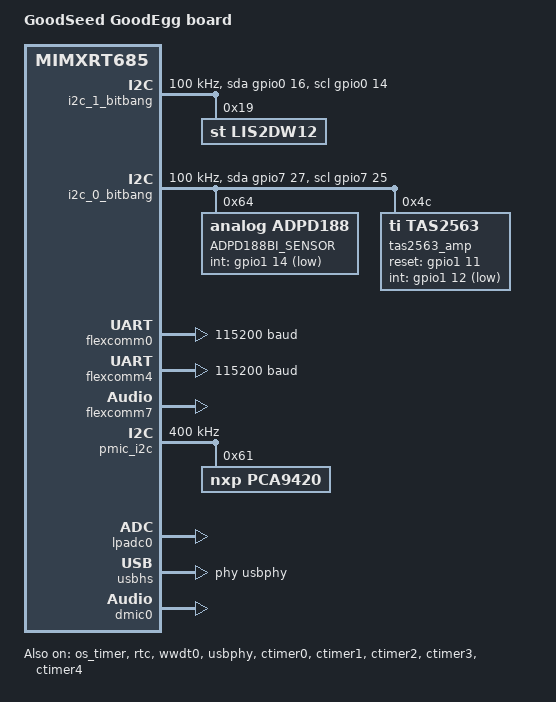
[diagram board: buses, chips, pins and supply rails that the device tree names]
/*
 * Copyright 2020-2024 NXP
 *
 * SPDX-License-Identifier: Apache-2.0
 */

/dts-v1/;

#include <nxp/nxp_rt6xx.dtsi>
#include <zephyr/dt-bindings/pwm/pwm.h>
#include <zephyr/dt-bindings/gpio/arduino-header-r3.h>
#include <zephyr/dt-bindings/input/input-event-codes.h>

#include "mimxrt685_evk-pinctrl.dtsi"

/ {
	model = "GoodSeed GoodEgg board";
	compatible = "nxp,mimxrt685";

	aliases {
		/* sw0 = &user_button_1; */
		/* sw1 = &user_button_2; */
		/* led0 = &green_led; */
		/* led1 = &blue_led; */
		/* led2 = &red_led; */
		usart-0 = &flexcomm4;
		//uart0=&flexcomm7;
		/* For pwm test suites */
		/* pwm-0 = &sc_timer; */
		/* pwm-led0 = &green_pwm_led; */
		/* green-pwm-led = &green_pwm_led; */
		/* blue-pwm-led = &blue_pwm_led; */
		/* red-pwm-led = &red_pwm_led; */
		watchdog0 = &wwdt0;
		/* magn0 = &fxos8700; */
		accel0 = &lis2dw12; 
		sdhc0 = &usdhc0;
		dmic-dev = &dmic0;
		//mcuboot-button0 = &user_button_1;
		mbox = &mbox;
		//led0 = &led0;
		adc0 = &lpadc0; 
		adpd0 = &adpd188bi;

		//bme6xx = &bme680;
		//die-temp0 = &adc_temp;
	};

	chosen {
		/* zephyr,flash-controller = &mx25um51345g; */
		zephyr,flash = &sram_code;/*&mx25um51345g; */
		zephyr,code-partition = &sram_code;
		zephyr,uart-mcumgr = &flexcomm4;
		zephyr,sram = &sram0;
		zephyr,console = &flexcomm4;
		zephyr,shell-uart = &flexcomm4;
	};

	/* leds { */
	/* 	compatible = "gpio-leds"; */
	/* 	led0: led_0 { */
	/* 		gpios = <&gpio0 14 GPIO_ACTIVE_HIGH>; */
	/* 		label = "Red LED 0"; */
	/* 	}; */
	/* }; */
	//Bitbang i2c sensor interface
	i2c_1_bitbang: i2c-gpio-1 {

		compatible = "gpio-i2c";
		label = "I2C_0_BITBANG";
		scl-gpios = <&gpio0 14 GPIO_OPEN_DRAIN >; //<&gpio7 25 GPIO_OPEN_DRAIN >; // | GPIO_PULL_UP)>; 
		sda-gpios = <&gpio0 16 GPIO_OPEN_DRAIN >; //<&gpio7 27 GPIO_OPEN_DRAIN >;
		clock-frequency = <I2C_BITRATE_STANDARD>;
		#address-cells = <1>;
		#size-cells = <0>;
		status = "okay";

		/* bme680:bme680@76 { */
		/* 	compatible = "bosch,bme680"; */
		/* 	reg = <0x76>; */
		/* 	status = "okay"; */
		/* }; */

		lis2dw12: lis2dw12@19 {
			compatible = "st,lis2dw12";
			status = "okay";
			reg = <0x19>;
			/* int1-gpios = <&gpio1 5 GPIO_ACTIVE_LOW>; */
			/* reset-gpios = <&gpio1 7 GPIO_ACTIVE_HIGH>; */
		};


	};
	i2c_0_bitbang: i2c-gpio-0 {

		compatible = "gpio-i2c";
		label = "I2C_0_BITBANG";
		scl-gpios = <&gpio7 25 GPIO_OPEN_DRAIN >; //<&gpio7 25 GPIO_OPEN_DRAIN >; // | GPIO_PULL_UP)>; 
		sda-gpios = <&gpio7 27 GPIO_OPEN_DRAIN >; //<&gpio7 27 GPIO_OPEN_DRAIN >;
		clock-frequency = <I2C_BITRATE_STANDARD>;
		#address-cells = <1>;
		#size-cells = <0>;
		status = "okay";

		/* bme680:bme680@76 { */
		/* 	compatible = "bosch,bme680"; */
		/* 	reg = <0x76>; */
		/* 	status = "okay"; */
		/* }; */

		adpd188bi: analog_adpd188@64 {
			compatible = "analog,adpd188";
			status = "okay";
			reg = <0x64>; 
			label = "ADPD188BI_SENSOR";
			int-gpios = <&gpio1 14 GPIO_ACTIVE_LOW>;
		};

		tas2563_amp: tas2563@4c {

			compatible = "ti,tas2563"; // Standard compatibility string for driver matching

			reg = <0x4c>;              // The 7-bit I2C address of the TAS2563

			// The driver will use this property to configure the I2S peripheral.
			audio-interface = <&i2s0>; 

			// a) RESET Pin (required for initial startup and soft resets)
			reset-gpios = <&gpio1 11 GPIO_ACTIVE_HIGH>; 

			// b) INTERRUPT Pin (for real-time events like short-circuit or thermal warning)
			int-gpios = <&gpio1 12 (GPIO_PULL_UP | GPIO_ACTIVE_LOW)>;

			status = "okay";
		};

	};


	/* gpio_keys { */
	/* 	compatible = "gpio-keys"; */
	/**/
	/* 	user_button_1: button_0 { */
	/* 		label = "User SW1"; */
	/* 		gpios = <&gpio1 1 GPIO_ACTIVE_LOW>; */
	/* 		zephyr,code = <INPUT_KEY_0>; */
	/* 	}; */
	/**/
	/* 	user_button_2: button_1 { */
	/* 		label = "User SW2"; */
	/* 		gpios = <&gpio0 10 GPIO_ACTIVE_LOW>; */
	/* 		zephyr,code = <INPUT_KEY_1>; */
	/* 	}; */
	/* }; */
	/**/
	/* leds: leds { */
	/* 	compatible = "gpio-leds"; */
	/**/
	/* 	green_led: led_1 { */
	/* 		gpios = <&gpio0 14 0>; */
	/* 		label = "User LED_GREEN"; */
	/* 	}; */
	/**/
	/* 	blue_led: led_2 { */
	/* 		gpios = <&gpio0 26 0>; */
	/* 		label = "User LED_BLUE"; */
	/* 	}; */
	/**/
	/* 	red_led: led_3 { */
	/* 		gpios = <&gpio0 31 0>; */
	/* 		label = "User LED_RED"; */
	/* 	}; */
	/* }; */
	/**/
	/* pwmleds { */
	/* 	compatible = "pwm-leds"; */
	/**/
	/* 	green_pwm_led: green_pwm_led { */
	/* 		pwms = <&sc_timer 0 PWM_MSEC(20) PWM_POLARITY_NORMAL>; */
	/* 		label = "Green PWM LED"; */
	/* 		status = "okay"; */
	/* 	}; */
	/**/
	/* 	blue_pwm_led: blue_pwm_led { */
	/* 		pwms = <&sc_timer 6 PWM_MSEC(20) PWM_POLARITY_NORMAL>; */
	/* 		label = "Blue PWM LED"; */
	/* 		status = "okay"; */
	/* 	}; */
	/**/
	/* 	red_pwm_led: red_pwm_led { */
	/* 		pwms = <&sc_timer 6 PWM_MSEC(20) PWM_POLARITY_NORMAL>; */
	/* 		label = "Red PWM LED"; */
	/* 		status = "disabled"; */
	/* 	}; */
	/* }; */
	/**/
	/* arduino_header: arduino-connector { */
	/* 	compatible = "arduino-header-r3"; */
	/* 	#gpio-cells = <2>; */
	/* 	gpio-map-mask = <0xffffffff 0xffffffc0>; */
	/* 	gpio-map-pass-thru = <0 0x3f>; */
	/* 	gpio-map = <ARDUINO_HEADER_R3_A0 0 &gpio0 5 0>, */
	/* 		   <ARDUINO_HEADER_R3_A1 0 &gpio0 6 0>, */
	/* 		   <ARDUINO_HEADER_R3_A2 0 &gpio0 19 0>, */
	/* 		   <ARDUINO_HEADER_R3_A3 0 &gpio0 20 0>, */
	/* 		   <ARDUINO_HEADER_R3_A4 0 &gpio0 17 0>, */
	/* 		   <ARDUINO_HEADER_R3_A5 0 &gpio0 18 0>, */
	/* 		   <ARDUINO_HEADER_R3_D0 0 &gpio0 30 0>, */
	/* 		   <ARDUINO_HEADER_R3_D1 0 &gpio0 29 0>, */
	/* 		   <ARDUINO_HEADER_R3_D2 0 &gpio0 28 0>, */
	/* 		   <ARDUINO_HEADER_R3_D3 0 &gpio0 27 0>, */
	/* 		   <ARDUINO_HEADER_R3_D4 0 &gpio1 0 0>, */
	/* 		   <ARDUINO_HEADER_R3_D5 0 &gpio1 10 0>, */
	/* 		   <ARDUINO_HEADER_R3_D6 0 &gpio1 2 0>, */
	/* 		   <ARDUINO_HEADER_R3_D7 0 &gpio1 8 0>, */
	/* 		   <ARDUINO_HEADER_R3_D8 0 &gpio1 9 0>, */
	/* 		   <ARDUINO_HEADER_R3_D9 0 &gpio1 7 0>, */
	/* 		   <ARDUINO_HEADER_R3_D10 0 &gpio1 6 0>, */
	/* 		   <ARDUINO_HEADER_R3_D11 0 &gpio1 5 0>, */
	/* 		   <ARDUINO_HEADER_R3_D12 0 &gpio1 4 0>, */
	/* 		   <ARDUINO_HEADER_R3_D13 0 &gpio1 3 0>, */
	/* 		   <ARDUINO_HEADER_R3_D14 0 &gpio0 17 0>, */
	/* 		   <ARDUINO_HEADER_R3_D15 0 &gpio0 18 0>; */
	/* }; */
};

/*
 * RT600 EVK board uses OS timer as the kernel timer
 * In case we need to switch to SYSTICK timer, then
 * replace &os_timer with &systick
 */
&os_timer {
	status = "okay";
	wakeup-source;
};

&rtc {
	status = "okay";
};

&flexcomm0 {
	compatible = "nxp,lpc-usart";
	status = "okay";
	current-speed = <115200>;
	pinctrl-0 = <&pinmux_flexcomm0_usart>;
	pinctrl-names = "default";
	dmas = <&dma0 0>, <&dma0 1>;
	dma-names = "rx", "tx";
};


&flexcomm4 {
	compatible = "nxp,lpc-usart";
	status = "okay";
	current-speed = <115200>;
	pinctrl-0 = <&pinmux_flexcomm4_usart>;
	pinctrl-names = "default";
	dmas = <&dma0 8>, <&dma0 9>;
	dma-names = "rx", "tx";
};


/* &flexcomm7 { */
/* 	compatible = "nxp,lpc-usart"; */
/* 	status = "okay"; */
/* 	current-speed = <115200>; */
/* 	pinctrl-0 = <&pinmux_flexcomm7_usart>; */
/* 	pinctrl-names = "default"; */
/* 	dmas = <&dma0 14>, <&dma0 15>; */
/* 	dma-names = "rx", "tx"; */
/* }; */

//I2S transmit channel 
i2s0: &flexcomm7 {
	status = "okay";
	compatible = "nxp,lpc-i2s";
	#address-cells = <1>;
	#size-cells = <0>;
	dmas = <&dma0 15>;
	dma-names = "tx";
	pinctrl-0 = <&pinmux_flexcomm7_i2s>;
	pinctrl-names = "default";
};
/* i2s0: &flexcomm6 { */
/* 	status = "okay"; */
/* 	compatible = "nxp,lpc-i2s"; */
/* 	#address-cells = <1>; */
/* 	#size-cells = <0>; */
/* 	dmas = <&dma0 13>; */
/* 	dma-names = "tx"; */
/* 	pinctrl-0 = <&pinmux_flexcomm6_i2s>; */
/* 	pinctrl-names = "default"; */
/* }; */
/**/
/* arduino_i2c: &flexcomm2 { */
/* 	compatible = "nxp,lpc-i2c"; */
/* 	status = "okay"; */
/* 	pinctrl-0 = <&pinmux_flexcomm2_i2c>; */
/* 	pinctrl-names = "default"; */
/* 	clock-frequency = <I2C_BITRATE_FAST>; */
/* 	#address-cells = <1>; */
/* 	#size-cells = <0>; */
/**/
/* 	fxos8700: fxos8700@1e { */
/* 		compatible = "nxp,fxos8700"; */
/* 		status = "okay"; */
/* 		reg = <0x1e>; */
/* 		int1-gpios = <&gpio1 5 GPIO_ACTIVE_LOW>; */
/* 		reset-gpios = <&gpio1 7 GPIO_ACTIVE_HIGH>; */
/* 	}; */
/**/
/* }; */
/**/
/* arduino_serial: &flexcomm4 { */
/* 	compatible = "nxp,lpc-usart"; */
/* 	status = "okay"; */
/* 	current-speed = <115200>; */
/* 	pinctrl-0 = <&pinmux_flexcomm4_usart>; */
/* 	pinctrl-names = "default"; */
/* 	dmas = <&dma0 8>, <&dma0 9>; */
/* 	dma-names = "rx", "tx"; */
/* }; */
/**/
/* arduino_spi: &flexcomm5 { */
/* 	compatible = "nxp,lpc-spi"; */
/* 	status = "okay"; */
/* 	#address-cells = <1>; */
/* 	#size-cells = <0>; */
/* 	dmas = <&dma0 10>, <&dma0 11>; */
/* 	dma-names = "rx", "tx"; */
/* 	pinctrl-0 = <&pinmux_flexcomm5_spi>; */
/* 	pinctrl-names = "default"; */
/* }; */
/**/
/* I2S receive channel */ 
/* i2s0: &flexcomm1 { */
/* 	status = "okay"; */
/* 	compatible = "nxp,lpc-i2s"; */
/* 	#address-cells = <1>; */
/* 	#size-cells = <0>; */
/* 	dmas = <&dma0 2>; */
/* 	dma-names = "rx"; */
/* 	pinctrl-0 = <&pinmux_flexcomm1_i2s>; */
/* 	pinctrl-names = "default"; */
/* }; */
/**/
/* I2S transmit channel */ 
/* i2s0: &flexcomm3 { */
/* 	status = "okay"; */
/* 	compatible = "nxp,lpc-i2s"; */
/* 	#address-cells = <1>; */
/* 	#size-cells = <0>; */
/* 	dmas = <&dma0 7>; */
/* 	dma-names = "tx"; */
/* 	pinctrl-0 = <&pinmux_flexcomm3_i2s>; */
/* 	pinctrl-names = "default"; */
/* }; */
/**/
/* PCA9420 PMIC */
&pmic_i2c {
	status = "okay";
	compatible = "nxp,lpc-i2c";
	clock-frequency = <I2C_BITRATE_FAST>;
	#address-cells = <1>;
	#size-cells = <0>;
	pinctrl-0 = <&pinmux_pmic_i2c>;
	pinctrl-names = "default";

	pca9420: pca9420@61 {
		compatible = "nxp,pca9420";
		reg = <0x61>;
		nxp,enable-modesel-pins;

		buck1: BUCK1 {
			regulator-boot-on;
		};

		buck2: BUCK2 {
			regulator-boot-on;
		};

		ldo1: LDO1 {
			regulator-boot-on;
		};

		ldo2: LDO2 {
			regulator-boot-on;
		};
	};
};

/* &flexspi { */
/* 	pinctrl-0 = <&pinmux_flexspi>; */
/* 	pinctrl-names = "default"; */
/* 	status = "okay"; */
/**/
/* 	mx25um51345g: mx25um51345g@2 { */
/* 		compatible = "nxp,imx-flexspi-mx25um51345g"; */
  		/*MX25UM51245G is 64MB, 512MBit flash part */ 
/* 		size = <DT_SIZE_M(64 * 8)>; */
/* 		reg = <2>; */
/* 		spi-max-frequency = <DT_FREQ_M(120)>; */
/* 		status = "okay"; */
/* 		jedec-id = [c2 81 3a]; */
/* 		erase-block-size = <DT_SIZE_K(4)>; */
/* 		write-block-size = <1>; /* FLASH_MCUX_FLEXSPI_MX25UM51345G_OPI_STR set */ 
/**/
/* 		partitions { */
/* 			compatible = "fixed-partitions"; */
/* 			#address-cells = <1>; */
/* 			#size-cells = <1>; */
/**/
 			/* 
 			 * Partition sizes must be aligned 
 			 * to the flash memory sector size of 4KB. */ 
/**/
/* 			boot_partition: partition@0 { */
/* 				label = "mcuboot"; */
/* 				reg = <0x00000000 DT_SIZE_K(128)>; */
/* 			}; */
/**/
/* 			slot0_partition: partition@20000 { */
/* 				label = "image-0"; */
/* 				reg = <0x00020000 DT_SIZE_M(3)>; */
/* 			}; */
/**/
/* 			slot1_partition: partition@320000 { */
/* 				label = "image-1"; */
/* 				reg = <0x00320000 DT_SIZE_M(3)>; */
/* 			}; */
/**/
/* 			storage_partition: partition@620000 { */
/* 				label = "storage"; */
/* 				reg = <0x00620000 (DT_SIZE_M(58) - DT_SIZE_K(128))>; */
/* 			}; */
/* 		}; */
/* 	}; */
/* }; */

&gpio0 {
	status = "okay";
};

&gpio1 {
	status = "okay";
};

&gpio2 {
	status = "okay";
};

&gpio3 {
	status = "okay";
};

&gpio4 {
	status = "okay";
};

&gpio7 {
	status = "okay";
};

&dma0 {
	status = "okay";
};

&wwdt0 {
	status = "okay";
};

/* &user_button_1 { */
/* 	status = "okay"; */
/* }; */
/**/
/* &user_button_2 { */
/* 	status = "okay"; */
/* }; */
/**/
/* &green_led { */
/* 	status = "okay"; */
/* }; */
/**/
/* &blue_led { */
/* 	status = "okay"; */
/* }; */
/**/
/* &red_led { */
/* 	status = "okay"; */
/* }; */
/**/
/* &sc_timer { */
/* 	status = "okay"; */
/* 	pinctrl-0 = <&pinmux_sctimer>; */
/* 	pinctrl-names = "default"; */
/* }; */

&usdhc0 {
	status = "disabled";
	/* Quick fix for 1.8V SD cards on RT600- disable 1.8V negotiation */
	no-1-8-v;
	pwr-gpios = <&gpio2 10 GPIO_ACTIVE_HIGH>;
	cd-gpios = <&gpio2 9 GPIO_ACTIVE_LOW>;

	sdmmc {
		compatible = "zephyr,sdmmc-disk";
		disk-name = "SD";
		status = "disabled";
	};
	pinctrl-0 = <&pinmux_usdhc>;
	pinctrl-names = "default";
};

&lpadc0 {
	status = "okay";
	pinctrl-0 = <&pinmux_lpadc0>;
	pinctrl-names = "default";
};

zephyr_udc0: &usbhs {
	status = "okay";
	phy-handle = <&usbphy>;
};

&usbphy {
	status = "okay";
	tx-d-cal = <12>;
	tx-cal-45-dp-ohms = <6>;
	tx-cal-45-dm-ohms = <6>;
};

&ctimer0 {
	status = "okay";
};

&ctimer1 {
	status = "okay";
};

&ctimer2 {
	status = "okay";
};

&ctimer3 {
	status = "okay";
};

&ctimer4 {
	status = "okay";
};

/* &i3c0 { */
/* 	pinctrl-0 = <&pinmux_i3c>; */
/* 	pinctrl-names = "default"; */
/**/
/* 	status = "okay"; */
/**/
/* 	audio_codec: wm8904@1a0000000000000000 { */
/* 		compatible = "wolfson,wm8904"; */
/* 		reg = <0x1a 0 0>; */
/**/
/* 		clock-source = "MCLK"; */
/**/
/* 		clocks = <&clkctl0 MCUX_AUDIO_MCLK>; */
/* 		clock-names = "mclk"; */
/* 	}; */
/* }; */

&sram_code {

	status = "okay";

};

/* Disable this node if not using USB and need another MPU region */
&sram1 {
	status = "okay";
};

&mbox {
	status = "okay";
};

&dmic0 {
	status = "okay";
	pinctrl-0 = <&pinmux_dmic0>;
	pinctrl-names = "default";
	use2fs;
};

/* Configure pdm channels 0 and 1 with gain, and cutoff settings
 * appropriate for the attached MEMS microphones.
 */
/* &pdmc0 { */
/* 	status = "okay"; */
/* 	gainshift = <3>; */
/* 	dc-cutoff = "155hz"; */
/* 	dc-gain = <1>; */
/* }; */
/**/
/* &pdmc1 { */
/* 	status = "okay"; */
/* 	gainshift = <3>; */
/* 	dc-cutoff = "155hz"; */
/* 	dc-gain = <1>; */
/* }; */
